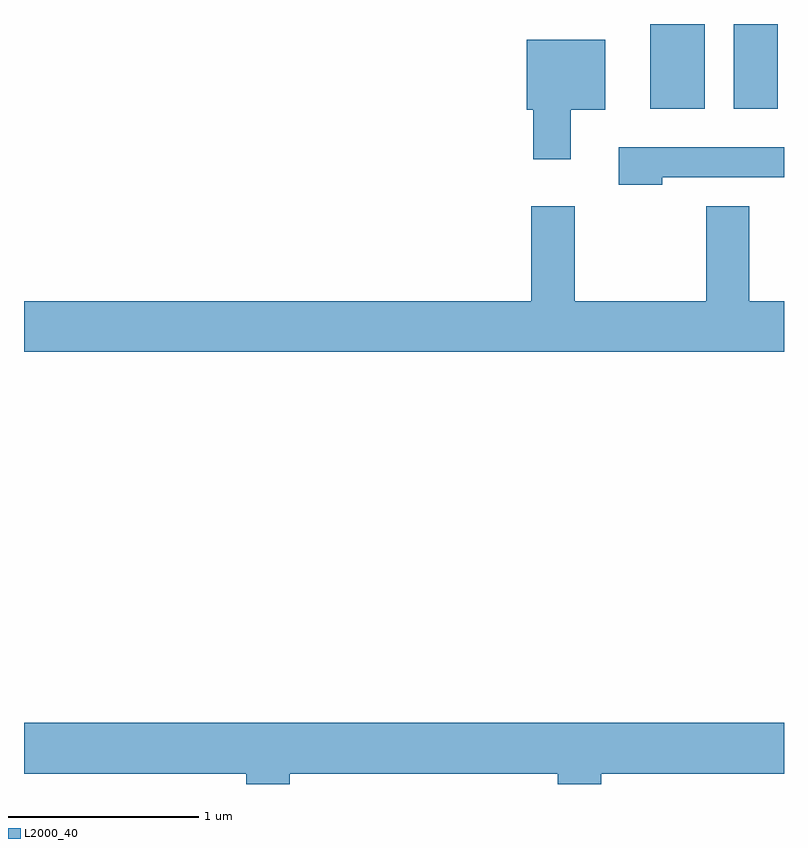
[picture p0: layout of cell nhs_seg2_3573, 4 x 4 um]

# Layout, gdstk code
import gdstk
lib = gdstk.Library(unit=1e-6, precision=1e-09)
def R(c, l, rs):  # rectangles x0, y0, x1, y1
    for r in rs: c.add(gdstk.rectangle(r[:2], r[2:], *l))
def P(c, l, *ps):  # polygons
    for p in ps: c.add(gdstk.Polygon(p, *l))
L2000_40 = (2000, 40)

nhs_seg2_3573 = lib.new_cell('nhs_seg2_3573')
R(nhs_seg2_3573, L2000_40, [(292.906,1067.356,293.194,1067.802), (293.346,1067.356,293.579,1067.802)])
P(nhs_seg2_3573, L2000_40, [(292.489,1067.351),(292.669,1067.351),(292.669,1067.719),(292.256,1067.719),(292.256,1067.351),(292.291,1067.351),(292.291,1067.091),(292.489,1067.091)],
  [(292.969,1066.996),(293.611,1066.996),(293.611,1067.154),(292.741,1067.154),(292.741,1066.956),(292.969,1066.956)],
  [(293.611,1066.344),(293.429,1066.344),(293.429,1066.844),(293.201,1066.844),(293.201,1066.344),(292.509,1066.344),(292.509,1066.844),(292.281,1066.844),(292.281,1066.344),(289.611,1066.344),(289.611,1066.076),(293.611,1066.076)],
  [(289.611,1063.856),(290.781,1063.856),(290.781,1063.802),(291.009,1063.802),(291.009,1063.856),(292.421,1063.856),(292.421,1063.802),(292.649,1063.802),(292.649,1063.856),(293.611,1063.856),(293.611,1064.124),(289.611,1064.124)])

lib.write_gds('nhs_seg2_3573.gds')
